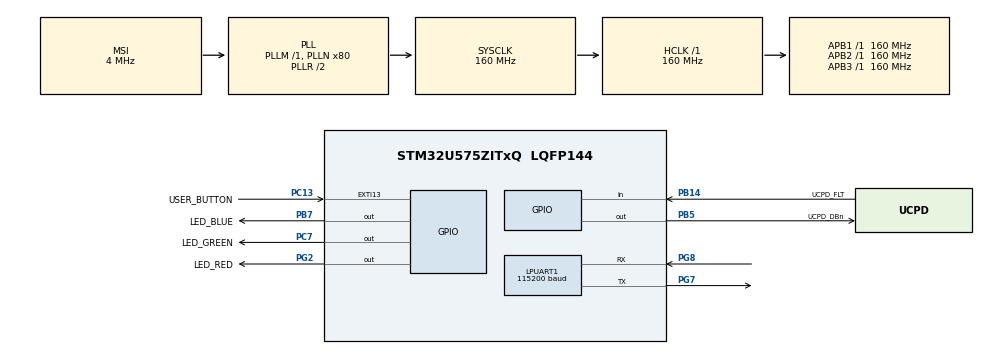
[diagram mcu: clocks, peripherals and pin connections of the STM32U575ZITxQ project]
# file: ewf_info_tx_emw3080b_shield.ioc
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CORTEX_M33_NS.userName=CORTEX_M33
LPUART1.BaudRate=115200
LPUART1.FIFOMode=UART_FIFOMODE_ENABLE
Mcu.Family=STM32U5
Mcu.Name=STM32U575ZITxQ
Mcu.Package=LQFP144
NVIC.LPUART1_IRQn=true\:0\:0\:false\:false\:true\:false\:true\:true\:true
NVIC.PriorityGroup=NVIC_PRIORITYGROUP_3
NVIC.TIM6_IRQn=true\:7\:0\:false\:false\:true\:false\:false\:true\:true
NVIC.TimeBase=TIM6_IRQn
NVIC.TimeBaseIP=TIM6
PA10.GPIO_Label=USART1_RX
PA10.GPIO_PuPd=GPIO_PULLDOWN
PA10.GPIO_Speed=GPIO_SPEED_FREQ_VERY_HIGH
PA10.Signal=USART1_RX
PA11.GPIO_Label=USB_OTG_FS_DM
PA11.GPIO_Speed=GPIO_SPEED_FREQ_VERY_HIGH
PA11.Signal=USB_OTG_FS_DM
PA12.GPIO_Label=USB_OTG_FS_DP
PA12.GPIO_Speed=GPIO_SPEED_FREQ_VERY_HIGH
PA12.Signal=USB_OTG_FS_DP
PA13\ (JTMS/SWDIO).Mode=Trace_Asynchronous_SW
PA13\ (JTMS/SWDIO).Signal=DEBUG_JTMS-SWDIO
PA14\ (JTCK/SWCLK).Mode=Trace_Asynchronous_SW
PA14\ (JTCK/SWCLK).Signal=DEBUG_JTCK-SWCLK
PA15\ (JTDI).GPIO_Label=UCPD1_CC1
PA15\ (JTDI).Signal=UCPD1_CC1
PA9.GPIO_Label=USART1_TX
PA9.GPIO_PuPd=GPIO_PULLDOWN
PA9.GPIO_Speed=GPIO_SPEED_FREQ_VERY_HIGH
PA9.Signal=USART1_TX
PB14.GPIO_Label=UCPD_FLT
PB14.Signal=GPIO_Input
PB15.GPIO_Label=UCPD1_CC2
PB15.Signal=UCPD1_CC2
PB3\ (JTDO/TRACESWO).Mode=Trace_Asynchronous_SW
PB3\ (JTDO/TRACESWO).Signal=DEBUG_JTDO-SWO
PB5.GPIO_Label=UCPD_DBn
PB5.Signal=GPIO_Output
PB7.GPIO_Label=LED_BLUE
PB7.GPIO_ModeDefaultOutputPP=GPIO_MODE_OUTPUT_PP
PB7.GPIO_PuPd=GPIO_PULLUP
PB7.GPIO_Speed=GPIO_SPEED_FREQ_HIGH
PB7.Signal=GPIO_Output
PC13.GPIO_Label=USER_BUTTON
PC13.GPIO_ModeDefaultEXTI=GPIO_MODE_IT_FALLING
PC13.Signal=GPXTI13
PC14-OSC32_IN\ (PC14).Mode=LSE-External-Oscillator
PC14-OSC32_IN\ (PC14).Signal=RCC_OSC32_IN
PC15-OSC32_OUT\ (PC15).Mode=LSE-External-Oscillator
PC15-OSC32_OUT\ (PC15).Signal=RCC_OSC32_OUT
PC2.GPIO_Label=VBUS_SENSE
PC2.Signal=ADC1_IN3
PC7.GPIO_Label=LED_GREEN
PC7.GPIO_PuPd=GPIO_PULLUP
PC7.GPIO_Speed=GPIO_SPEED_FREQ_HIGH
PC7.Signal=GPIO_Output
PG2.GPIO_Label=LED_RED
PG2.GPIO_ModeDefaultOutputPP=GPIO_MODE_OUTPUT_PP
PG2.GPIO_PuPd=GPIO_PULLUP
PG2.GPIO_Speed=GPIO_SPEED_FREQ_HIGH
PG2.Signal=GPIO_Output
PG7.GPIO_Speed=GPIO_SPEED_FREQ_HIGH
PG7.Mode=Asynchronous
PG7.Signal=LPUART1_TX
PG8.GPIO_Speed=GPIO_SPEED_FREQ_HIGH
PG8.Mode=Asynchronous
PG8.Signal=LPUART1_RX
PWR.PowerMode=PWR_SMPS_SUPPLY
ProjectManager.HeapSize=0x200
ProjectManager.StackSize=0x400
ProjectManager.TargetToolchain=STM32CubeIDE
RCC.ADCFreq_Value=16000000
RCC.AHBFreq_Value=160000000
RCC.APB1Freq_Value=160000000
RCC.APB1TimFreq_Value=160000000
RCC.APB2Freq_Value=160000000
RCC.APB2TimFreq_Value=160000000
RCC.APB3Freq_Value=160000000
RCC.CortexFreq_Value=160000000
RCC.DACCLockSelectionVirtual=RCC_DAC1CLKSOURCE_LSI
RCC.DACCLockSelectionVirtualString=RCC_DAC1CLKSOURCE_LSI
RCC.EPOD_VALUE=4000000
RCC.HCLKFreq_Value=160000000
RCC.HSE_VALUE=16000000
RCC.HSI48_VALUE=48000000
RCC.HSI_VALUE=16000000
RCC.LSIDIV_VALUE=32000
RCC.MSI_VALUE=4000000
RCC.PLLN=80
RCC.SYSCLKFreq_VALUE=160000000
RCC.SYSCLKSource=RCC_SYSCLKSOURCE_PLLCLK
RCC.USBFreq_Value=48000000
RCC.VCOOutputFreq_Value=320000000
VP_ICACHE_VS_ICACHE.Mode=DefaultMode
VP_LPBAMQUEUE_VS_QUEUE.Mode=QUEUEMODE
VP_LPBAM_VS_SIG1.Mode=SmartRun
VP_LPBAM_VS_SIG4.Mode=LPDMA1
VP_PWR_VS_DBSignals.Mode=DisableDeadBatterySignals
VP_PWR_VS_LPOM.Mode=PowerOptimisation
VP_PWR_VS_SECSignals.Mode=Security/Privilege
VP_SYS_VS_tim6.Mode=TIM6
VP_THREADX_VS_RTOSJjThreadXJjCoreJjDefault.Mode=Core_Default
board=NUCLEO-U575ZI-Q

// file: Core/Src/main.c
/* USER CODE BEGIN Header */
/**
  ******************************************************************************
  * @file           : main.c
  * @brief          : Main program body
  ******************************************************************************
  * @attention
  *
  * Copyright (c) 2022 STMicroelectronics.
  * All rights reserved.
  *
  * This software is licensed under terms that can be found in the LICENSE file
  * in the root directory of this software component.
  * If no LICENSE file comes with this software, it is provided AS-IS.
  *
  ******************************************************************************
  */
/* USER CODE END Header */
#include "main.h"
#include "app_threadx.h"

/* USER CODE BEGIN Includes */

#include <stdlib.h>

#include "stm32u5xx_hal.h"
#include "stm32u5xx_ll_bus.h"
#include "stm32u5xx_ll_rcc.h"
#include "stm32u5xx_ll_system.h"
#include "stm32u5xx_ll_utils.h"
#include "stm32u5xx_ll_pwr.h"
#include "stm32u5xx_ll_exti.h"
#include "stm32u5xx_ll_gpio.h"
#include "stm32u5xx_ll_usart.h"

#include "ewf_lib.c"
#include "ewf_platform_threadx.c"
#include "ewf_allocator.c"
#include "ewf_allocator_threadx.c"
#include "ewf_interface.c"
#include "ewf_interface_stm32_uart.c"
#include "ewf_adapter.c"
#include "ewf_adapter_api_control.c"
#include "ewf_adapter_api_info.c"
#include "ewf_adapter_api_tls_basic.c"
#include "ewf_adapter_api_mqtt_basic.c"
#include "ewf_adapter_api_tcp.c"
#include "ewf_adapter_api_udp.c"
#include "ewf_adapter_mxchip_emw3080b.c"

#include "ewf_example.config.h"

/* USER CODE END Includes */

/* USER CODE BEGIN PTD */
#if defined ( __GNUC__) && !defined(__clang__)
/* With GCC, small printf (option LD Linker->Libraries->Small printf
   set to 'Yes') calls __io_putchar() */
#define PUTCHAR_PROTOTYPE int __io_putchar(int ch)
#else
#define PUTCHAR_PROTOTYPE int fputc(int ch, FILE *f)
#endif /* __GNUC__ */

/* USER CODE END PTD */

UART_HandleTypeDef hlpuart1;

void SystemClock_Config(void);
static void SystemPower_Config(void);
static void MX_GPIO_Init(void);
static void MX_ICACHE_Init(void);
static void MX_LPUART1_UART_Init(void);

/* USER CODE BEGIN 0 */
void thread_sample_entry(ULONG thread_input)
{
    ewf_result result;

    ewf_allocator* message_allocator_ptr = NULL;
    ewf_interface* interface_ptr = NULL;
    ewf_adapter* adapter_ptr = NULL;

    EWF_ALLOCATOR_THREADX_STATIC_DECLARE(message_allocator_ptr, message_allocator, EWF_CONFIG_MESSAGE_ALLOCATOR_BLOCK_COUNT, EWF_CONFIG_MESSAGE_ALLOCATOR_BLOCK_SIZE);
    EWF_INTERFACE_STM32_UART_STATIC_DECLARE(interface_ptr, stm32_uart_port, &hlpuart1);
    EWF_ADAPTER_MXCHIP_EMW3080B_STATIC_DECLARE(adapter_ptr, emw3080b, message_allocator_ptr, NULL, interface_ptr);

    /* Start the adapter.  */
    if (ewf_result_failed(result = ewf_adapter_start(adapter_ptr)))
    {
        EWF_LOG_ERROR("Failed to start the adapter, ewf_result %d.\n", result);
        exit(result);
    }

    // Log the adapter info
    if (ewf_result_failed(result = ewf_adapter_info(adapter_ptr)))
    {
        EWF_LOG_ERROR("Failed to log the adapter info, ewf_result %d.\n", result);
        exit(result);
    }

    EWF_LOG("\nDone!\n");

    /* Stay here forever.  */
    while (1)
    {
        EWF_LOG(".");
        ewf_platform_sleep(EWF_PLATFORM_TICKS_PER_SECOND);
    }
}

/* USER CODE END 0 */

int main(void)
{

  /* MCU Configuration--------------------------------------------------------*/

  /* Reset of all peripherals, Initializes the Flash interface and the Systick. */
  HAL_Init();

  /* Configure the system clock */
  SystemClock_Config();

  /* Configure the System Power */
  SystemPower_Config();

  /* Initialize all configured peripherals */
  MX_GPIO_Init();
  MX_ICACHE_Init();
  MX_LPUART1_UART_Init();
  /* USER CODE BEGIN 2 */
  EWF_LOG("\n\n[INFO][EXAMPLE INFO ThreadX MX-CHIP EM3080B shield]\n");
  /* USER CODE END 2 */

  MX_ThreadX_Init();

  /* We should never get here as control is now taken by the scheduler */
  /* Infinite loop */
  while (1)
  {

  }
}

void SystemClock_Config(void)
{
  RCC_OscInitTypeDef RCC_OscInitStruct = {0};
  RCC_ClkInitTypeDef RCC_ClkInitStruct = {0};

  /** Configure the main internal regulator output voltage
  */
  if (HAL_PWREx_ControlVoltageScaling(PWR_REGULATOR_VOLTAGE_SCALE1) != HAL_OK)
  {
    Error_Handler();
  }

  /** Initializes the CPU, AHB and APB buses clocks
  */
  RCC_OscInitStruct.OscillatorType = RCC_OSCILLATORTYPE_MSI;
  RCC_OscInitStruct.MSIState = RCC_MSI_ON;
  RCC_OscInitStruct.MSICalibrationValue = RCC_MSICALIBRATION_DEFAULT;
  RCC_OscInitStruct.MSIClockRange = RCC_MSIRANGE_4;
  RCC_OscInitStruct.PLL.PLLState = RCC_PLL_ON;
  RCC_OscInitStruct.PLL.PLLSource = RCC_PLLSOURCE_MSI;
  RCC_OscInitStruct.PLL.PLLMBOOST = RCC_PLLMBOOST_DIV1;
  RCC_OscInitStruct.PLL.PLLM = 1;
  RCC_OscInitStruct.PLL.PLLN = 80;
  RCC_OscInitStruct.PLL.PLLP = 2;
  RCC_OscInitStruct.PLL.PLLQ = 2;
  RCC_OscInitStruct.PLL.PLLR = 2;
  RCC_OscInitStruct.PLL.PLLRGE = RCC_PLLVCIRANGE_0;
  RCC_OscInitStruct.PLL.PLLFRACN = 0;
  if (HAL_RCC_OscConfig(&RCC_OscInitStruct) != HAL_OK)
  {
    Error_Handler();
  }

  /** Initializes the CPU, AHB and APB buses clocks
  */
  RCC_ClkInitStruct.ClockType = RCC_CLOCKTYPE_HCLK|RCC_CLOCKTYPE_SYSCLK
                              |RCC_CLOCKTYPE_PCLK1|RCC_CLOCKTYPE_PCLK2
                              |RCC_CLOCKTYPE_PCLK3;
  RCC_ClkInitStruct.SYSCLKSource = RCC_SYSCLKSOURCE_PLLCLK;
  RCC_ClkInitStruct.AHBCLKDivider = RCC_SYSCLK_DIV1;
  RCC_ClkInitStruct.APB1CLKDivider = RCC_HCLK_DIV1;
  RCC_ClkInitStruct.APB2CLKDivider = RCC_HCLK_DIV1;
  RCC_ClkInitStruct.APB3CLKDivider = RCC_HCLK_DIV1;

  if (HAL_RCC_ClockConfig(&RCC_ClkInitStruct, FLASH_LATENCY_4) != HAL_OK)
  {
    Error_Handler();
  }
}

/**
  * @brief Power Configuration
  * @retval None
  */
static void SystemPower_Config(void)
{
  HAL_PWREx_EnableVddIO2();

  /*
   * Disable the internal Pull-Up in Dead Battery pins of UCPD peripheral
   */
  HAL_PWREx_DisableUCPDDeadBattery();

  /*
   * Switch to SMPS regulator instead of LDO
   */
  if (HAL_PWREx_ConfigSupply(PWR_SMPS_SUPPLY) != HAL_OK)
  {
    Error_Handler();
  }
}

static void MX_ICACHE_Init(void)
{

  /** Enable instruction cache (default 2-ways set associative cache)
  */
  if (HAL_ICACHE_Enable() != HAL_OK)
  {
    Error_Handler();
  }

}

static void MX_LPUART1_UART_Init(void)
{

  hlpuart1.Instance = LPUART1;
  hlpuart1.Init.BaudRate = 115200;
  hlpuart1.Init.WordLength = UART_WORDLENGTH_8B;
  hlpuart1.Init.StopBits = UART_STOPBITS_1;
  hlpuart1.Init.Parity = UART_PARITY_NONE;
  hlpuart1.Init.Mode = UART_MODE_TX_RX;
  hlpuart1.Init.HwFlowCtl = UART_HWCONTROL_NONE;
  hlpuart1.Init.OneBitSampling = UART_ONE_BIT_SAMPLE_DISABLE;
  hlpuart1.AdvancedInit.AdvFeatureInit = UART_ADVFEATURE_NO_INIT;
  hlpuart1.FifoMode = UART_FIFOMODE_ENABLE;
  if (HAL_UART_Init(&hlpuart1) != HAL_OK)
  {
    Error_Handler();
  }
  if (HAL_UARTEx_SetTxFifoThreshold(&hlpuart1, UART_TXFIFO_THRESHOLD_1_8) != HAL_OK)
  {
    Error_Handler();
  }
  if (HAL_UARTEx_SetRxFifoThreshold(&hlpuart1, UART_RXFIFO_THRESHOLD_1_8) != HAL_OK)
  {
    Error_Handler();
  }
  if (HAL_UARTEx_EnableFifoMode(&hlpuart1) != HAL_OK)
  {
    Error_Handler();
  }

}

static void MX_GPIO_Init(void)
{
  GPIO_InitTypeDef GPIO_InitStruct = {0};

  /* GPIO Ports Clock Enable */
  __HAL_RCC_GPIOC_CLK_ENABLE();
  __HAL_RCC_GPIOB_CLK_ENABLE();
  __HAL_RCC_GPIOG_CLK_ENABLE();
  __HAL_RCC_GPIOA_CLK_ENABLE();

  /*Configure GPIO pin Output Level */
  HAL_GPIO_WritePin(LED_RED_GPIO_Port, LED_RED_Pin, GPIO_PIN_RESET);

  /*Configure GPIO pin Output Level */
  HAL_GPIO_WritePin(LED_GREEN_GPIO_Port, LED_GREEN_Pin, GPIO_PIN_RESET);

  /*Configure GPIO pin Output Level */
  HAL_GPIO_WritePin(GPIOB, UCPD_DBn_Pin|LED_BLUE_Pin, GPIO_PIN_RESET);

  /*Configure GPIO pin : USER_BUTTON_Pin */
  GPIO_InitStruct.Pin = USER_BUTTON_Pin;
  GPIO_InitStruct.Mode = GPIO_MODE_IT_FALLING;
  GPIO_InitStruct.Pull = GPIO_NOPULL;
  HAL_GPIO_Init(USER_BUTTON_GPIO_Port, &GPIO_InitStruct);

  /*Configure GPIO pin : VBUS_SENSE_Pin */
  GPIO_InitStruct.Pin = VBUS_SENSE_Pin;
  GPIO_InitStruct.Mode = GPIO_MODE_ANALOG;
  GPIO_InitStruct.Pull = GPIO_NOPULL;
  HAL_GPIO_Init(VBUS_SENSE_GPIO_Port, &GPIO_InitStruct);

  /*Configure GPIO pin : UCPD_FLT_Pin */
  GPIO_InitStruct.Pin = UCPD_FLT_Pin;
  GPIO_InitStruct.Mode = GPIO_MODE_INPUT;
  GPIO_InitStruct.Pull = GPIO_NOPULL;
  HAL_GPIO_Init(UCPD_FLT_GPIO_Port, &GPIO_InitStruct);

  /*Configure GPIO pin : UCPD1_CC2_Pin */
  GPIO_InitStruct.Pin = UCPD1_CC2_Pin;
  GPIO_InitStruct.Mode = GPIO_MODE_ANALOG;
  GPIO_InitStruct.Pull = GPIO_NOPULL;
  HAL_GPIO_Init(UCPD1_CC2_GPIO_Port, &GPIO_InitStruct);

  /*Configure GPIO pin : LED_RED_Pin */
  GPIO_InitStruct.Pin = LED_RED_Pin;
  GPIO_InitStruct.Mode = GPIO_MODE_OUTPUT_PP;
  GPIO_InitStruct.Pull = GPIO_PULLUP;
  GPIO_InitStruct.Speed = GPIO_SPEED_FREQ_HIGH;
  HAL_GPIO_Init(LED_RED_GPIO_Port, &GPIO_InitStruct);

  /*Configure GPIO pin : LED_GREEN_Pin */
  GPIO_InitStruct.Pin = LED_GREEN_Pin;
  GPIO_InitStruct.Mode = GPIO_MODE_OUTPUT_PP;
  GPIO_InitStruct.Pull = GPIO_PULLUP;
  GPIO_InitStruct.Speed = GPIO_SPEED_FREQ_HIGH;
  HAL_GPIO_Init(LED_GREEN_GPIO_Port, &GPIO_InitStruct);

  /*Configure GPIO pins : USART1_TX_Pin USART1_RX_Pin */
  GPIO_InitStruct.Pin = USART1_TX_Pin|USART1_RX_Pin;
  GPIO_InitStruct.Mode = GPIO_MODE_AF_PP;
  GPIO_InitStruct.Pull = GPIO_PULLDOWN;
  GPIO_InitStruct.Speed = GPIO_SPEED_FREQ_VERY_HIGH;
  GPIO_InitStruct.Alternate = GPIO_AF7_USART1;
  HAL_GPIO_Init(GPIOA, &GPIO_InitStruct);

  /*Configure GPIO pins : USB_OTG_FS_DM_Pin USB_OTG_FS_DP_Pin */
  GPIO_InitStruct.Pin = USB_OTG_FS_DM_Pin|USB_OTG_FS_DP_Pin;
  GPIO_InitStruct.Mode = GPIO_MODE_AF_PP;
  GPIO_InitStruct.Pull = GPIO_NOPULL;
  GPIO_InitStruct.Speed = GPIO_SPEED_FREQ_VERY_HIGH;
  GPIO_InitStruct.Alternate = GPIO_AF10_USB;
  HAL_GPIO_Init(GPIOA, &GPIO_InitStruct);

  /*Configure GPIO pin : UCPD1_CC1_Pin */
  GPIO_InitStruct.Pin = UCPD1_CC1_Pin;
  GPIO_InitStruct.Mode = GPIO_MODE_ANALOG;
  GPIO_InitStruct.Pull = GPIO_NOPULL;
  HAL_GPIO_Init(UCPD1_CC1_GPIO_Port, &GPIO_InitStruct);

  /*Configure GPIO pin : UCPD_DBn_Pin */
  GPIO_InitStruct.Pin = UCPD_DBn_Pin;
  GPIO_InitStruct.Mode = GPIO_MODE_OUTPUT_PP;
  GPIO_InitStruct.Pull = GPIO_NOPULL;
  GPIO_InitStruct.Speed = GPIO_SPEED_FREQ_LOW;
  HAL_GPIO_Init(UCPD_DBn_GPIO_Port, &GPIO_InitStruct);

  /*Configure GPIO pin : LED_BLUE_Pin */
  GPIO_InitStruct.Pin = LED_BLUE_Pin;
  GPIO_InitStruct.Mode = GPIO_MODE_OUTPUT_PP;
  GPIO_InitStruct.Pull = GPIO_PULLUP;
  GPIO_InitStruct.Speed = GPIO_SPEED_FREQ_HIGH;
  HAL_GPIO_Init(LED_BLUE_GPIO_Port, &GPIO_InitStruct);

}

/* USER CODE BEGIN 4 */
/**
* @brief  Retargets the C library printf function to the USART.
* @param  None
* @retval None
*/

PUTCHAR_PROTOTYPE
{
    /* Place your implementation of fputc here */
    /* e.g. write a character to the USART1 and Loop until the end of transmission */
    ITM_SendChar(ch);
    return ch;
}

/* USER CODE END 4 */

void HAL_TIM_PeriodElapsedCallback(TIM_HandleTypeDef *htim)
{
  if (htim->Instance == TIM6) {
    HAL_IncTick();
  }
}

void Error_Handler(void)
{
  __disable_irq();
  while (1)
  {
  }
}
